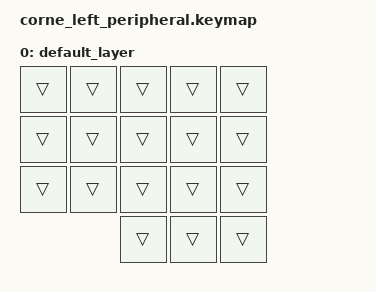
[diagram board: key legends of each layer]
/*
 * Copyright (c) 2020 The ZMK Contributors
 *
 * SPDX-License-Identifier: MIT
 */

#include <dt-bindings/zmk/keys.h>
#include <behaviors.dtsi>

/ {
    keymap {
        compatible = "zmk,keymap";

        default_layer {
            bindings = <
&trans &trans &trans &trans &trans
&trans &trans &trans &trans &trans
&trans &trans &trans &trans &trans
              &trans &trans &trans
            >;
        };
    };
};
